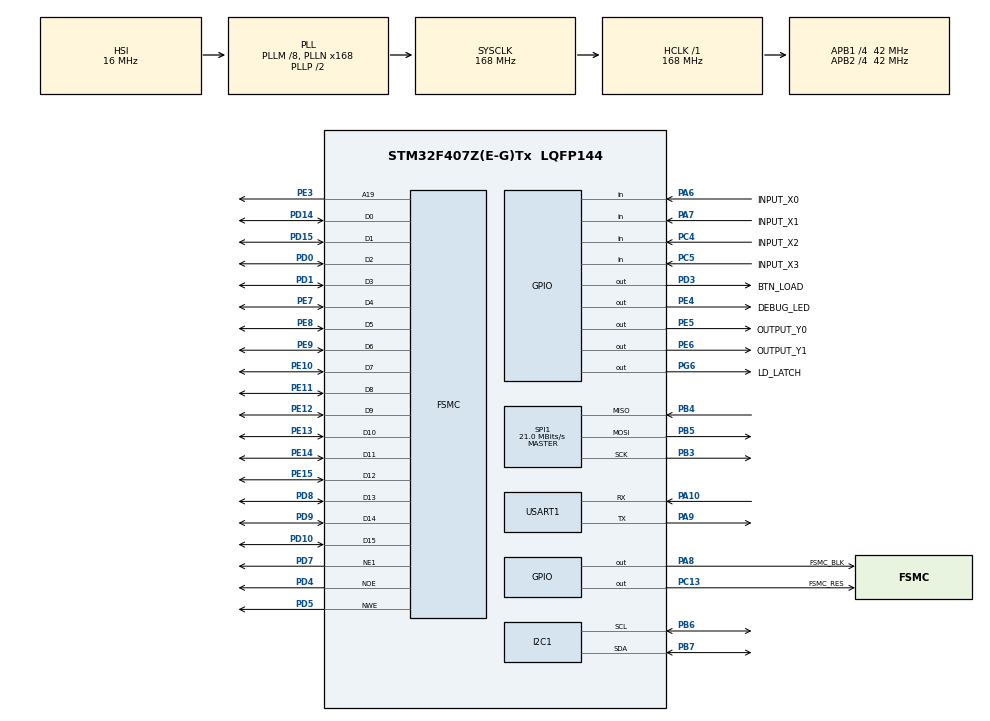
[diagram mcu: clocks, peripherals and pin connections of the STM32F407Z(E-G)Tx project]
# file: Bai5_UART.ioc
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FSMC.AddressSetupTime1=0xf
FSMC.BusTurnAroundDuration1=0
FSMC.DataSetupTime1=60
FSMC.ExtendedAddressSetupTime1=8
FSMC.ExtendedBusTurnAroundDuration1=0
FSMC.ExtendedDataSetupTime1=9
FSMC.ExtendedMode1=FSMC_EXTENDED_MODE_ENABLE
I2C1.I2C_Mode=I2C_Standard
Mcu.Family=STM32F4
Mcu.Name=STM32F407Z(E-G)Tx
Mcu.Package=LQFP144
NVIC.PriorityGroup=NVIC_PRIORITYGROUP_4
NVIC.TIM2_IRQn=true\:0\:0\:false\:false\:true\:true\:true
NVIC.USART1_IRQn=true\:0\:0\:false\:false\:true\:true\:true
PA10.Mode=Asynchronous
PA10.Signal=USART1_RX
PA13.Mode=Serial_Wire
PA13.Signal=SYS_JTMS-SWDIO
PA14.Mode=Serial_Wire
PA14.Signal=SYS_JTCK-SWCLK
PA6.GPIO_Label=INPUT_X0
PA6.Signal=GPIO_Input
PA7.GPIO_Label=INPUT_X1
PA7.Signal=GPIO_Input
PA8.GPIO_Label=FSMC_BLK
PA8.Signal=GPIO_Output
PA9.Mode=Asynchronous
PA9.Signal=USART1_TX
PB3.Mode=Full_Duplex_Master
PB3.Signal=SPI1_SCK
PB4.Mode=Full_Duplex_Master
PB4.Signal=SPI1_MISO
PB5.Mode=Full_Duplex_Master
PB5.Signal=SPI1_MOSI
PB6.Mode=I2C
PB6.Signal=I2C1_SCL
PB7.Mode=I2C
PB7.Signal=I2C1_SDA
PC13-ANTI_TAMP.GPIO_Label=FSMC_RES
PC13-ANTI_TAMP.Signal=GPIO_Output
PC4.GPIO_Label=INPUT_X2
PC4.Signal=GPIO_Input
PC5.GPIO_Label=INPUT_X3
PC5.Signal=GPIO_Input
PD0.Signal=FSMC_D2_DA2
PD1.Signal=FSMC_D3_DA3
PD10.Signal=FSMC_D15_DA15
PD14.Signal=FSMC_D0_DA0
PD15.Signal=FSMC_D1_DA1
PD3.GPIO_Label=BTN_LOAD
PD3.Signal=GPIO_Output
PD4.Signal=FSMC_NOE
PD5.Signal=FSMC_NWE
PD7.Mode=NorPsramChipSelect1_1
PD7.Signal=FSMC_NE1
PD8.Signal=FSMC_D13_DA13
PD9.Signal=FSMC_D14_DA14
PE10.Signal=FSMC_D7_DA7
PE11.Signal=FSMC_D8_DA8
PE12.Signal=FSMC_D9_DA9
PE13.Signal=FSMC_D10_DA10
PE14.Signal=FSMC_D11_DA11
PE15.Signal=FSMC_D12_DA12
PE3.Signal=FSMC_A19
PE4.GPIO_Label=DEBUG_LED
PE4.Signal=GPIO_Output
PE5.GPIO_Label=OUTPUT_Y0
PE5.Signal=GPIO_Output
PE6.GPIO_Label=OUTPUT_Y1
PE6.Signal=GPIO_Output
PE7.Signal=FSMC_D4_DA4
PE8.Signal=FSMC_D5_DA5
PE9.Signal=FSMC_D6_DA6
PG6.GPIO_Label=LD_LATCH
PG6.Signal=GPIO_Output
PH0-OSC_IN.Mode=HSE-External-Oscillator
PH0-OSC_IN.Signal=RCC_OSC_IN
PH1-OSC_OUT.Mode=HSE-External-Oscillator
PH1-OSC_OUT.Signal=RCC_OSC_OUT
ProjectManager.HeapSize=0x200
ProjectManager.StackSize=0x400
ProjectManager.TargetToolchain=STM32CubeIDE
RCC.48MHZClocksFreq_Value=84000000
RCC.AHBFreq_Value=168000000
RCC.APB1CLKDivider=RCC_HCLK_DIV4
RCC.APB1Freq_Value=42000000
RCC.APB1TimFreq_Value=84000000
RCC.APB2CLKDivider=RCC_HCLK_DIV4
RCC.APB2Freq_Value=42000000
RCC.APB2TimFreq_Value=84000000
RCC.CortexFreq_Value=168000000
RCC.HCLKFreq_Value=168000000
RCC.HSE_VALUE=8000000
RCC.HSI_VALUE=16000000
RCC.LSE_VALUE=32768
RCC.PLLM=8
RCC.PLLN=168
RCC.SYSCLKFreq_VALUE=168000000
RCC.SYSCLKSource=RCC_SYSCLKSOURCE_PLLCLK
RCC.VCOOutputFreq_Value=336000000
SH.FSMC_A19.0=FSMC_A19,A19_1
SH.FSMC_D0_DA0.0=FSMC_D0,16b-d1
SH.FSMC_D10_DA10.0=FSMC_D10,16b-d1
SH.FSMC_D11_DA11.0=FSMC_D11,16b-d1
SH.FSMC_D12_DA12.0=FSMC_D12,16b-d1
SH.FSMC_D13_DA13.0=FSMC_D13,16b-d1
SH.FSMC_D14_DA14.0=FSMC_D14,16b-d1
SH.FSMC_D15_DA15.0=FSMC_D15,16b-d1
SH.FSMC_D1_DA1.0=FSMC_D1,16b-d1
SH.FSMC_D2_DA2.0=FSMC_D2,16b-d1
SH.FSMC_D3_DA3.0=FSMC_D3,16b-d1
SH.FSMC_D4_DA4.0=FSMC_D4,16b-d1
SH.FSMC_D5_DA5.0=FSMC_D5,16b-d1
SH.FSMC_D6_DA6.0=FSMC_D6,16b-d1
SH.FSMC_D7_DA7.0=FSMC_D7,16b-d1
SH.FSMC_D8_DA8.0=FSMC_D8,16b-d1
SH.FSMC_D9_DA9.0=FSMC_D9,16b-d1
SH.FSMC_NOE.0=FSMC_NOE,Lcd1
SH.FSMC_NWE.0=FSMC_NWE,Lcd1
SPI1.BaudRatePrescaler=SPI_BAUDRATEPRESCALER_2
SPI1.CalculateBaudRate=21.0 MBits/s
SPI1.Direction=SPI_DIRECTION_2LINES
SPI1.Mode=SPI_MODE_MASTER
SPI1.VirtualType=VM_MASTER
TIM2.Period=100-1
TIM2.Prescaler=840-1
USART1.VirtualMode=VM_ASYNC
VP_TIM2_VS_ClockSourceINT.Mode=Internal
board=custom

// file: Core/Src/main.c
/* USER CODE BEGIN Header */
/**
  ******************************************************************************
  * @file           : main.c
  * @brief          : Main program body
  ******************************************************************************
  * @attention
  *
  * <h2><center>&copy; Copyright (c) 2023 STMicroelectronics.
  * All rights reserved.</center></h2>
  *
  * This software component is licensed by ST under BSD 3-Clause license,
  * the "License"; You may not use this file except in compliance with the
  * License. You may obtain a copy of the License at:
  *                        opensource.org/licenses/BSD-3-Clause
  *
  ******************************************************************************
  */
/* USER CODE END Header */
#include "main.h"
#include "i2c.h"
#include "spi.h"
#include "tim.h"
#include "usart.h"
#include "gpio.h"
#include "fsmc.h"

/* USER CODE BEGIN Includes */
#include "software_timer.h"
#include "led_7seg.h"
#include "button.h"
#include "lcd.h"
#include "picture.h"
#include "ds3231.h"
#include "uart.h"
/* USER CODE END Includes */

/* USER CODE BEGIN PD */
#define DISPLAY_MODE 0
#define ADJUST_MODE 1

#define ALARM_MODE 2
#define ADJUST_RS232_Mode 3
#define ADJUST_RS232_Mode_ERROR 4

uint8_t counter_blink=0;
uint8_t blink_flag =0;

/* USER CODE END PD */

/* USER CODE BEGIN PV */

uint8_t ring_buffer[RING_BUFFER_SIZE];
uint16_t head = 0; // Points to the next write position
uint16_t tail = 0; // Points to the current read position
uint8_t receive_buffer = 0;
uint8_t data_available_flag = 0;

uint8_t count_led_debug = 0;

uint8_t current_mode = DISPLAY_MODE;
uint8_t adjust_part = 0;
uint8_t alarm_hours = 0;
uint8_t alarm_minutes = 0;

uint8_t alarm_flag = 0;

uint8_t request_RS232_count = 0;

// Constants and global variables
#define MAX_ATTEMPTS 3
#define TIMEOUT 100        // Timeout for 10 seconds (assuming a 50ms increment per tick)
#define ERROR_DISPLAY_TIME 60 // 3 seconds (assuming a 50ms increment per tick)

uint8_t attempt_count = 0;
uint16_t timeout_counter = TIMEOUT-1;
uint8_t temp_value = 0;
uint8_t digit_count = 0;
uint8_t request_sent = 0;
uint8_t error_display_counter = 0;
uint8_t in_error_display = 0;
/* USER CODE END PV */

void SystemClock_Config(void);
/* USER CODE BEGIN PFP */
void system_init();
void test_LedDebug();
void buttonBai5();
void test_Uart();

void displayTime();
void updateTime();

void adjustTimeRS232(void);
void adjustTime();
void setAlarm();
void checkAlarm();
void ProcessRingBufferData();

/* USER CODE END PFP */

int main(void)
{

  /* MCU Configuration--------------------------------------------------------*/

  /* Reset of all peripherals, Initializes the Flash interface and the Systick. */
  HAL_Init();

  /* Configure the system clock */
  SystemClock_Config();

  /* Initialize all configured peripherals */
  MX_GPIO_Init();
  MX_TIM2_Init();
  MX_SPI1_Init();
  MX_FSMC_Init();
  MX_I2C1_Init();
  MX_USART1_UART_Init();
  /* USER CODE BEGIN 2 */
  system_init();
  /* USER CODE END 2 */

  /* Infinite loop */
  /* USER CODE BEGIN WHILE */
  /* USER CODE BEGIN WHILE */
    while (1)
    {
      /* USER CODE END WHILE */
//      if (data_available_flag) {
//          data_available_flag = 0;  // Clear the flag
//
//          // Process all data in the ring buffer
//          while (tail != head) {
//              uint8_t data = ring_buffer[tail];
//              tail = (tail + 1) % RING_BUFFER_SIZE;
//
//              // Process the data (e.g., echo it back or handle it in some other way)
//              HAL_UART_Transmit(&huart1, &data, 1, 10);
//          }
//      }

    	// Inside the main loop

      while (!flag_timer2);
      flag_timer2 = 0;
      button_Scan();
      buttonBai5();
  	if (data_available_flag) {
  	    ProcessRingBufferData();  // Process all available data in the ring buffer
  	    data_available_flag = 0;   // Reset the flag after processing
  	}
      switch (current_mode) {
          case DISPLAY_MODE:
        	  lcd_StrCenter(0, 2, "DISPLAY MODE", WHITE, BLACK, 16, 1);
              ds3231_ReadTime();
              displayTime();
              checkAlarm();
              adjust_part =0;
              break;

          case ADJUST_MODE:
        	  lcd_StrCenter(0, 2, "ADJUST MANUALLY Mode", WHITE, BLACK, 16, 1);
              adjustTime();
              break;

          case ALARM_MODE:
        	  lcd_StrCenter(0, 2, "ALARM Mode", WHITE, BLACK, 16, 1);
              setAlarm();
              adjust_part =0;
              break;
          case ADJUST_RS232_Mode:
        	  lcd_StrCenter(0, 2, "ADJUST RS232 Mode", WHITE, BLACK, 16, 1);
//        	  lcd_ShowStr(20, 30, "Traffic light", WHITE, Black, 24, 0);
        	  adjustTimeRS232();
        	  break;
          case ADJUST_RS232_Mode_ERROR:
        	    lcd_StrCenter(0, 2, "ERROR: No response", RED, BLACK, 16, 1);
      	        error_display_counter++;
      	        if (error_display_counter >= ERROR_DISPLAY_TIME) {
      	            current_mode = DISPLAY_MODE;  // Reset to normal mode
      	            lcd_Clear(BLACK);
      	            in_error_display = 0;
      	            error_display_counter = 0;
      	          attempt_count = 0;
      	          timeout_counter = TIMEOUT;
      	        }
        	  break;
          default:
              break;
      }
    }

}

void SystemClock_Config(void)
{
  RCC_OscInitTypeDef RCC_OscInitStruct = {0};
  RCC_ClkInitTypeDef RCC_ClkInitStruct = {0};

  /** Configure the main internal regulator output voltage
  */
  __HAL_RCC_PWR_CLK_ENABLE();
  __HAL_PWR_VOLTAGESCALING_CONFIG(PWR_REGULATOR_VOLTAGE_SCALE1);
  /** Initializes the RCC Oscillators according to the specified parameters
  * in the RCC_OscInitTypeDef structure.
  */
  RCC_OscInitStruct.OscillatorType = RCC_OSCILLATORTYPE_HSI;
  RCC_OscInitStruct.HSIState = RCC_HSI_ON;
  RCC_OscInitStruct.HSICalibrationValue = RCC_HSICALIBRATION_DEFAULT;
  RCC_OscInitStruct.PLL.PLLState = RCC_PLL_ON;
  RCC_OscInitStruct.PLL.PLLSource = RCC_PLLSOURCE_HSI;
  RCC_OscInitStruct.PLL.PLLM = 8;
  RCC_OscInitStruct.PLL.PLLN = 168;
  RCC_OscInitStruct.PLL.PLLP = RCC_PLLP_DIV2;
  RCC_OscInitStruct.PLL.PLLQ = 4;
  if (HAL_RCC_OscConfig(&RCC_OscInitStruct) != HAL_OK)
  {
    Error_Handler();
  }
  /** Initializes the CPU, AHB and APB buses clocks
  */
  RCC_ClkInitStruct.ClockType = RCC_CLOCKTYPE_HCLK|RCC_CLOCKTYPE_SYSCLK
                              |RCC_CLOCKTYPE_PCLK1|RCC_CLOCKTYPE_PCLK2;
  RCC_ClkInitStruct.SYSCLKSource = RCC_SYSCLKSOURCE_PLLCLK;
  RCC_ClkInitStruct.AHBCLKDivider = RCC_SYSCLK_DIV1;
  RCC_ClkInitStruct.APB1CLKDivider = RCC_HCLK_DIV4;
  RCC_ClkInitStruct.APB2CLKDivider = RCC_HCLK_DIV4;

  if (HAL_RCC_ClockConfig(&RCC_ClkInitStruct, FLASH_LATENCY_5) != HAL_OK)
  {
    Error_Handler();
  }
}

/* USER CODE BEGIN 4 */
void system_init(){
	  HAL_GPIO_WritePin(OUTPUT_Y0_GPIO_Port, OUTPUT_Y0_Pin, 0);
	  HAL_GPIO_WritePin(OUTPUT_Y1_GPIO_Port, OUTPUT_Y1_Pin, 0);
	  HAL_GPIO_WritePin(DEBUG_LED_GPIO_Port, DEBUG_LED_Pin, 0);
	  timer_init();
	  led7_init();
	  button_init();
	  lcd_init();
	  uart_init_rs232();
	  ds3231_init();
	  setTimer2(50);
	  lcd_Clear(BLACK);
	  updateTime();
}

void test_LedDebug(){
	count_led_debug = (count_led_debug + 1)%20;
	if(count_led_debug == 0){
		HAL_GPIO_TogglePin(DEBUG_LED_GPIO_Port, DEBUG_LED_Pin);
	}
}

void test_button(){
	for(int i = 0; i < 16; i++){
		if(button_count[i] == 1){
			led7_SetDigit(i/10, 2, 0);
			led7_SetDigit(i%10, 3, 0);
		}
	}
}

void test_Uart(){
	if(button_count[12] == 1){
		uart_Rs232SendNum(ds3231_hours);
		uart_Rs232SendString(":");
		uart_Rs232SendNum(ds3231_min);
		uart_Rs232SendString(":");
		uart_Rs232SendNum(ds3231_sec);
		uart_Rs232SendString("\n");
	}
}
void updateTime(){
	ds3231_Write(ADDRESS_YEAR, 23);
	ds3231_Write(ADDRESS_MONTH, 10);
	ds3231_Write(ADDRESS_DATE, 20);
	ds3231_Write(ADDRESS_DAY, 6);
	ds3231_Write(ADDRESS_HOUR, 1);
	ds3231_Write(ADDRESS_MIN, 2);
	ds3231_Write(ADDRESS_SEC, 30);
}
void buttonBai5(){
    if (button_count[0] == 1) {
        current_mode = (current_mode +1) % 4;
       lcd_Clear(BLACK);
       request_RS232_count =0;
    }
}

uint8_t isButtonUp()
{
    if (button_count[3] == 1)
        return 1;
    else
        return 0;
}
uint8_t isButtonDown()
{
    if (button_count[7] == 1)
        return 1;
    else
        return 0;
}
void displayTime(){

	lcd_ShowIntNum(70, 100, ds3231_hours, 2, GREEN, BLACK, 24);
	lcd_ShowIntNum(110, 100, ds3231_min, 2, GREEN, BLACK, 24);
	lcd_ShowIntNum(150, 100, ds3231_sec, 2, GREEN, BLACK, 24);
	lcd_ShowIntNum(20, 130, ds3231_day, 2, YELLOW, BLACK, 24);
	lcd_ShowIntNum(70, 130, ds3231_date, 2, YELLOW, BLACK, 24);
	lcd_ShowIntNum(110, 130, ds3231_month, 2, YELLOW, BLACK, 24);
	lcd_ShowIntNum(150, 130, ds3231_year, 2, YELLOW, BLACK, 24);
}

void adjustTime() {
//    lcd_ShowStr(10, 10, "Adjust Time", RED, BLACK, 24);
	counter_blink = (counter_blink + 1)%10;
    // Increment the selected part of time
    if (isButtonUp()) {
        if (adjust_part == 0){
        	ds3231_hours = (ds3231_hours + 1) % 24;

        }
        else if (adjust_part == 1) ds3231_min = (ds3231_min + 1) % 60;
        else if (adjust_part == 2) ds3231_sec = (ds3231_sec + 1) % 60;
    }

    // Save part and move to the next part
    if (isButtonDown()) {
        adjust_part = (adjust_part + 1) % 3;  // Rotate through hours, minutes, seconds

        if (adjust_part == 0) {
        	ds3231_Write(ADDRESS_HOUR, ds3231_hours);
			ds3231_Write(ADDRESS_MIN, ds3231_min);
			ds3231_Write(ADDRESS_SEC, ds3231_sec);
            current_mode = DISPLAY_MODE;
            lcd_Clear(BLACK);
        }
    }

    // Display and blink selected part

    if (adjust_part == 0) {
    	if(counter_blink ==0 &&blink_flag ==0)
    	{
    		displayTime();
    		lcd_ShowIntNum(70, 100, ds3231_hours, 2, GREEN, BLACK, 24);
    		blink_flag =1;
    	}
    	else if (counter_blink ==0 &&blink_flag ==1){
    		displayTime();
    		lcd_ShowIntNum(70, 100, ds3231_hours, 2, BLACK, BLACK, 24);
    		blink_flag =0;
    	}
    }
    else if (adjust_part == 1) {
    	if(counter_blink ==0 &&blink_flag ==0)
    	{
    		displayTime();
    		lcd_ShowIntNum(110, 100, ds3231_min, 2, GREEN, BLACK, 24);
    		blink_flag =1;
    	}

    	else if (counter_blink ==0 &&blink_flag ==1){
    		displayTime();
    		lcd_ShowIntNum(110, 100, ds3231_min, 2, BLACK, BLACK, 24);
    		blink_flag =0;
    	}
    }

    else if (adjust_part == 2) {
    	if(counter_blink ==0 &&blink_flag ==0)
    	{
    		displayTime();
    		lcd_ShowIntNum(150, 100, ds3231_sec, 2, GREEN, BLACK, 24);
    		blink_flag =1;
    	}
    	else if(counter_blink ==0 &&blink_flag ==1){
    		displayTime();
    		lcd_ShowIntNum(150, 100, ds3231_sec, 2, BLACK, BLACK, 24);
    		blink_flag =0;
    	}
    }
}
static uint8_t alarm_active = 2;  // Flag to indicate if the alarm is active

void setAlarm() {
//    lcd_ShowStr(10, 10, "Set Alarm", YELLOW, BLACK, 24);

    // Adjust alarm time
    if (isButtonUp()) {
        if (adjust_part == 0) alarm_hours = (alarm_hours + 1) % 24;
        else if (adjust_part == 1) alarm_minutes = (alarm_minutes + 1) % 60;

    }

    if (isButtonDown()) {
        adjust_part = (adjust_part + 1) % 2;  // Move to next part

        if (adjust_part == 0) {
            current_mode = DISPLAY_MODE; // Return to view mode
            lcd_Clear(BLACK);
            alarm_active = 1;
        }
    }

    // Display alarm time
    lcd_ShowIntNum(70, 100, alarm_hours, 2, YELLOW, BLACK, 24);
    lcd_ShowIntNum(110, 100, alarm_minutes, 2, YELLOW, BLACK, 24);

}
uint8_t flash_counter = 0;
void checkAlarm() {
    ds3231_ReadTime();

    // Check if it's time for the alarm to trigger
    if (ds3231_hours == alarm_hours && ds3231_min == alarm_minutes) {
        flash_counter++;  // Increment the flash counter every time checkAlarm is called

        // Flash red screen every 5 seconds
        if (flash_counter >= 20) {
            lcd_Fill(0, 0, 240, 320, RED);  // Flash red screen
            flash_counter = 0;  // Reset the counter after flashing
            if(flash_counter == 0){
            	lcd_Clear(BLACK);
            }
        }
    } else {
        flash_counter = 0;  // Reset counter if not in alarm time
    }
}

void resendRequest() {
    switch (adjust_part) {
        case 0: HAL_UART_Transmit(&huart1, (uint8_t *)"Request Hour\n", 13, 10); break;
        case 1: HAL_UART_Transmit(&huart1, (uint8_t *)"Request Min\n", 12, 10); break;
        case 2: HAL_UART_Transmit(&huart1, (uint8_t *)"Request Sec\n", 12, 10); break;
    }
}

void adjustTimeRS232(void){
	counter_blink = (counter_blink + 1)%10;
	timeout_counter = (timeout_counter + 1)%TIMEOUT;

	    if (isButtonDown()) {
	        adjust_part = (adjust_part + 1) % 3;  // Rotate through hours, minutes, seconds

	        if (adjust_part == 0) {
	        	ds3231_Write(ADDRESS_HOUR, ds3231_hours);
				ds3231_Write(ADDRESS_MIN, ds3231_min);
				ds3231_Write(ADDRESS_SEC, ds3231_sec);
	            current_mode = DISPLAY_MODE;
	            lcd_Clear(BLACK);
	        }
	    }

	    if (data_available_flag) {
	        data_available_flag = 0;
	        ProcessRingBufferData();
	    }

	    if (timeout_counter ==0) {  // 5 seconds elapsed
	        if (attempt_count < MAX_ATTEMPTS) {
	            resendRequest();
	            timeout_counter = 0;  // Reset counter after resend
	            attempt_count++;

	        }
	        else{
	            current_mode = ADJUST_RS232_Mode_ERROR;
	            lcd_Clear(BLACK);
	            error_display_counter = 0;
	        }

	    }

	    //Blink with 0.5 second
	    if (adjust_part == 0) {
	    	if(counter_blink ==0 &&blink_flag ==0)
	    	{
	    		displayTime();
	    		lcd_ShowIntNum(70, 100, ds3231_hours, 2, GREEN, BLACK, 24);
	    		blink_flag =1;
	    	}
	    	else if (counter_blink ==0 &&blink_flag ==1){
	    		displayTime();
	    		lcd_ShowIntNum(70, 100, ds3231_hours, 2, BLACK, BLACK, 24);
	    		blink_flag =0;
	    	}
	    }
	    else if (adjust_part == 1) {
	    	if(counter_blink ==0 &&blink_flag ==0)
	    	{
	    		displayTime();
	    		lcd_ShowIntNum(110, 100, ds3231_min, 2, GREEN, BLACK, 24);
	    		blink_flag =1;
	    	}

	    	else if (counter_blink ==0 &&blink_flag ==1){
	    		displayTime();
	    		lcd_ShowIntNum(110, 100, ds3231_min, 2, BLACK, BLACK, 24);
	    		blink_flag =0;
	    	}
	    }

	    else if (adjust_part == 2) {
	    	if(counter_blink ==0 &&blink_flag ==0)
	    	{
	    		displayTime();
	    		lcd_ShowIntNum(150, 100, ds3231_sec, 2, GREEN, BLACK, 24);
	    		blink_flag =1;
	    	}
	    	else if(counter_blink ==0 &&blink_flag ==1){
	    		displayTime();
	    		lcd_ShowIntNum(150, 100, ds3231_sec, 2, BLACK, BLACK, 24);
	    		blink_flag =0;
	    	}
	    }
}
void ProcessRingBufferData() {
    while (tail != head) {
        uint8_t data = ring_buffer[tail];
        tail = (tail + 1) % RING_BUFFER_SIZE;

        if (data >= '0' && data <= '9') {
            temp_value = temp_value * 10 + (data - '0');
            digit_count++;

            if (digit_count == 2 || (adjust_part == 0 && temp_value > 2)) {
                switch (adjust_part) {
                    case 0:
                        ds3231_hours = temp_value % 24;
                        HAL_UART_Transmit(&huart1, (uint8_t *)"Hour Set\n", 9, 10);
                        break;
                    case 1:
                        ds3231_min = temp_value % 60;
                        HAL_UART_Transmit(&huart1, (uint8_t *)"Minute Set\n", 11, 10);
                        break;
                    case 2:
                        ds3231_sec = temp_value % 60;
                        HAL_UART_Transmit(&huart1, (uint8_t *)"Second Set\n", 11, 10);
                        break;
                }

                // Reset temporary variables on valid data
                attempt_count = 0;
                timeout_counter = 0;
                request_sent = 0;
                temp_value = 0;
                digit_count = 0;

                // Move to the next part
                adjust_part = (adjust_part + 1) % 3;

                // If finished adjusting all parts, save and exit
                if (adjust_part == 0) {
                    ds3231_Write(ADDRESS_HOUR, ds3231_hours);
                    ds3231_Write(ADDRESS_MIN, ds3231_min);
                    ds3231_Write(ADDRESS_SEC, ds3231_sec);
                    current_mode = DISPLAY_MODE;
                    lcd_Clear(BLACK);
                    HAL_UART_Transmit(&huart1, (uint8_t *)"Time Adjusted\n", 14, 10);
                }
            }
        }
    }
}

/* USER CODE END 4 */

void Error_Handler(void)
{
  __disable_irq();
  while (1)
  {
  }
}

/************************ (C) COPYRIGHT STMicroelectronics *****END OF FILE****/
